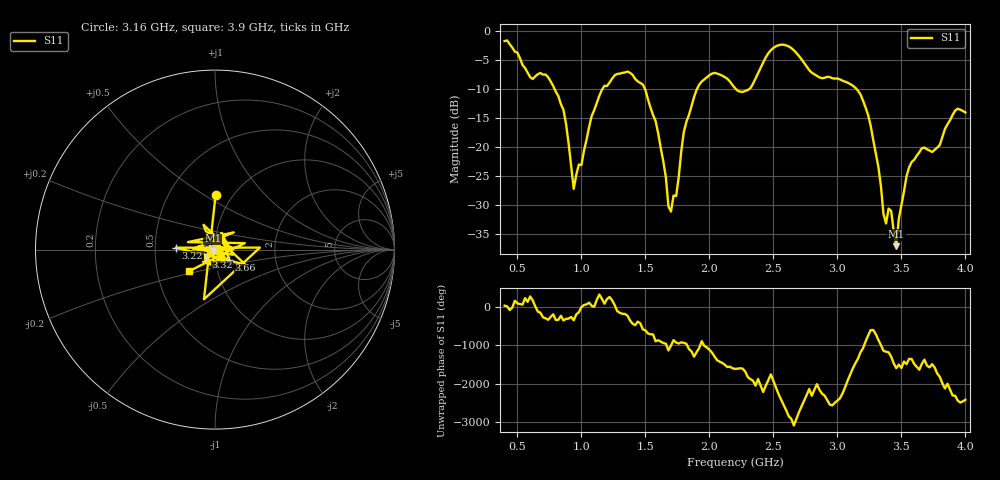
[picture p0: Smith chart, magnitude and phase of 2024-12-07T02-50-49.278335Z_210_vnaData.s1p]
!Created with skrf (http://scikit-rf.org).
# Hz S RI R 50.0
!freq ReS11 ImS11
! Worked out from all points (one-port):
!   181 points, 400 MHz to 4 GHz, reference 50 ohm
!   lowest |S11| = -37.2 dB at 3.46 GHz (marker M1), VSWR 1.03, Z = 48.8 - j0.641 ohm
!   |S11| at or under -10 dB: 790 MHz to 1.165 GHz (374.8 MHz wide, 38.3 % of centre); 1.496 GHz to 1.903 GHz (407 MHz wide, 23.9 % of centre); 3.149 GHz to end of sweep (the widest 3 of 4)
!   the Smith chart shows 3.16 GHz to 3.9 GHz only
!   S11 on the Smith chart (normalised r, x): 3.16 GHz: 0.83, +0.56; 3.22 GHz: 0.64, +0.01; 3.32 GHz: 0.90, -0.08; 3.66 GHz: 1.16, -0.14; 3.9 GHz: 0.73, -0.18
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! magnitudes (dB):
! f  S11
! 400 MHz  -1.7
! 740 MHz  -8.0
! 860 MHz  -13.6
! 940 MHz  -27.3
! 1.14 GHz  -11.2
! 1.3 GHz  -7.4
! 1.5 GHz  -10.2
! 1.6 GHz  -17.7
! 1.7 GHz  -31.2
! 1.76 GHz  -25.3
! 1.8 GHz  -17.4
! 1.92 GHz  -9.3
! 2.2 GHz  -9.8
! 2.32 GHz  -9.9
! 2.52 GHz  -2.6
! 2.66 GHz  -3.3
! 3.1 GHz  -9.2
! 3.16 GHz  -10.3
! 3.22 GHz  -13.2
! 3.32 GHz  -23.5
! 3.36 GHz  -31.6
! 3.42 GHz  -31.1
! 3.46 GHz  -37.2
! 3.56 GHz  -23.6
! 3.66 GHz  -20.2
! 3.8 GHz  -19.7
! 3.9 GHz  -14.5
! 4 GHz  -14.1
